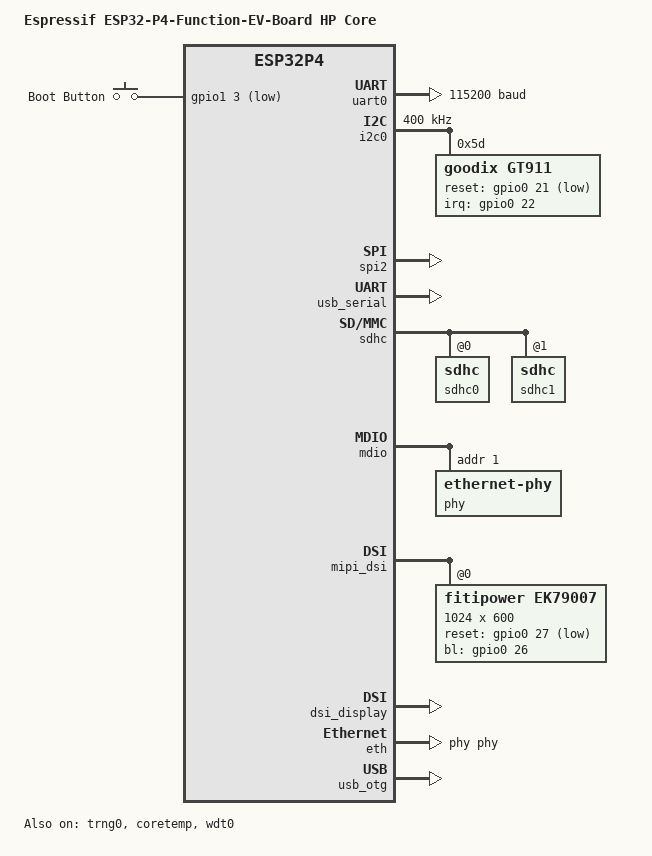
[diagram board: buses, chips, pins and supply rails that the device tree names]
/*
 * Copyright (c) 2026 Espressif Systems (Shanghai) Co., Ltd.
 *
 * SPDX-License-Identifier: Apache-2.0
 */

/dts-v1/;

#include <espressif/esp32p4/esp32p4_n16r8.dtsi>
#include "esp32p4_function_ev_board_hpcore-pinctrl.dtsi"
#include <zephyr/dt-bindings/input/input-event-codes.h>
#include <zephyr/dt-bindings/display/panel.h>
#include <zephyr/dt-bindings/mipi_dsi/mipi_dsi.h>
#include <espressif/partitions_0x2000_default_16M.dtsi>

/ {
	model = "Espressif ESP32-P4-Function-EV-Board HP Core";
	compatible = "espressif,esp32p4";

	chosen {
		zephyr,sram = &sramhp;
		zephyr,console = &usb_serial;
		zephyr,shell-uart = &usb_serial;
		zephyr,flash = &flash0;
		zephyr,code-partition = &slot0_partition;
		zephyr,bt-hci = &esp_hosted_mcu_hci;
		zephyr,display = &dsi_display;
		zephyr,touch = &gt911;
	};

	aliases {
		sw0 = &boot_button;
		watchdog0 = &wdt0;
		sdhc0 = &sdhc0;
	};

	gpio_keys {
		compatible = "gpio-keys";

		boot_button: button {
			label = "Boot Button";
			gpios = <&gpio1 3 (GPIO_PULL_UP | GPIO_ACTIVE_LOW)>;
			zephyr,code = <INPUT_KEY_0>;
		};
	};
};

/*
 * This board carries pre-v3 (v1.3) ESP32-P4 silicon, whose valid CPU
 * frequencies are 90/180/360 MHz. Using a frequency outside that set
 * builds but fails at boot with "invalid CPU frequency".
 */
&cpu0 {
	clock-frequency = <DT_FREQ_M(360)>;
};

&cpu1 {
	clock-frequency = <DT_FREQ_M(360)>;
};

&uart0 {
	status = "okay";
	current-speed = <115200>;
	pinctrl-0 = <&uart0_default>;
	pinctrl-names = "default";
};

&trng0 {
	status = "okay";
};

&coretemp {
	status = "okay";
};

&i2c0 {
	status = "okay";
	clock-frequency = <I2C_BITRATE_FAST>;
	pinctrl-0 = <&i2c0_default>;
	pinctrl-names = "default";

	gt911: touch-controller@5d {
		compatible = "goodix,gt911";
		status = "okay";
		reg = <0x5d>;
		reset-gpios = <&gpio0 21 GPIO_ACTIVE_LOW>;
		irq-gpios = <&gpio0 22 GPIO_ACTIVE_HIGH>;
		screen-width = <1024>;
		screen-height = <600>;
		inverted-x;
		inverted-y;
	};
};

&spi2 {
	#address-cells = <1>;
	#size-cells = <0>;
	status = "okay";
	pinctrl-0 = <&spim2_default>;
	pinctrl-names = "default";
};

&usb_serial {
	status = "okay";
};

&gpio0 {
	status = "okay";
};

&wdt0 {
	status = "okay";
};

&dma {
	status = "okay";
};

&dma_axi {
	status = "okay";
};

&ldo {
	status = "okay";

	ldo1@1 {
		regulator-init-microvolt = <3300000>;
		regulator-boot-on;
		regulator-always-on;
	};

	ldo2@2 {
		regulator-init-microvolt = <1800000>;
		regulator-boot-on;
		regulator-always-on;
	};

	ldo3@3 {
		regulator-init-microvolt = <2500000>;
		regulator-boot-on;
		regulator-always-on;
	};

	ldo4@4 {
		regulator-init-microvolt = <3300000>;
		regulator-boot-on;
		regulator-always-on;
	};
};

&sdhc {
	sdhc0: sdhc@0 {
		status = "okay";
		bus-width = <4>;
		max-bus-freq = <40000000>;
		clk-pin = <43>;
		cmd-pin = <44>;
		d0-pin = <39>;
		d1-pin = <40>;
		d2-pin = <41>;
		d3-pin = <42>;

		mmc {
			compatible = "zephyr,sdmmc-disk";
			disk-name = "SD";
			status = "okay";
		};
	};

	sdhc1: sdhc@1 {
		status = "okay";
		bus-width = <4>;
		max-bus-freq = <40000000>;
		clk-pin = <18>;
		cmd-pin = <19>;
		d0-pin = <14>;
		d1-pin = <15>;
		d2-pin = <16>;
		d3-pin = <17>;
		#address-cells = <1>;
		#size-cells = <0>;

		esp_hosted_mcu: esp-hosted-mcu@0 {
			compatible = "espressif,esp-hosted-mcu";
			reg = <0>;
			reset-gpios = <&gpio1 22 GPIO_ACTIVE_HIGH>;
			status = "okay";

			esp_hosted_mcu_wifi: wifi {
				compatible = "espressif,esp-hosted-mcu-wifi";
				status = "okay";
			};

			esp_hosted_mcu_hci: bt-hci {
				compatible = "espressif,esp-hosted-mcu-bt-hci";
				status = "okay";
			};
		};
	};
};

&mdio {
	pinctrl-0 = <&mdio_default>;
	pinctrl-names = "default";
	status = "okay";

	phy: ethernet-phy@1 {
		compatible = "ethernet-phy";
		reg = <1>;
	};
};

&mipi_dsi {
	status = "okay";
	phy-clock = <900000000>;
	dpi-clock-frequency = <48000000>;

	ek79007: panel-controller@0 {
		compatible = "fitipower,ek79007";
		reg = <0>;
		data-lanes = <2>;
		pixel-format = <MIPI_DSI_PIXFMT_RGB888>;
		width = <1024>;
		height = <600>;
		reset-gpios = <&gpio0 27 GPIO_ACTIVE_LOW>;
		bl-gpios = <&gpio0 26 GPIO_ACTIVE_HIGH>;

		display-timings {
			compatible = "zephyr,panel-timing";
			hsync-len = <10>;
			hback-porch = <160>;
			hfront-porch = <160>;
			vsync-len = <1>;
			vback-porch = <23>;
			vfront-porch = <12>;
			hsync-active = <0>;
			vsync-active = <0>;
			de-active = <1>;
			pixelclk-active = <0>;
		};
	};
};

&dsi_display {
	status = "okay";
	pixel-format = <PANEL_PIXEL_FORMAT_RGB_888>;
	width = <1024>;
	height = <600>;
};

&eth {
	status = "okay";
	phy-handle = <&phy>;
	pinctrl-0 = <&rmii_default>;
	pinctrl-names = "default";
};

zephyr_udc0: &usb_otg {
	status = "okay";
};
